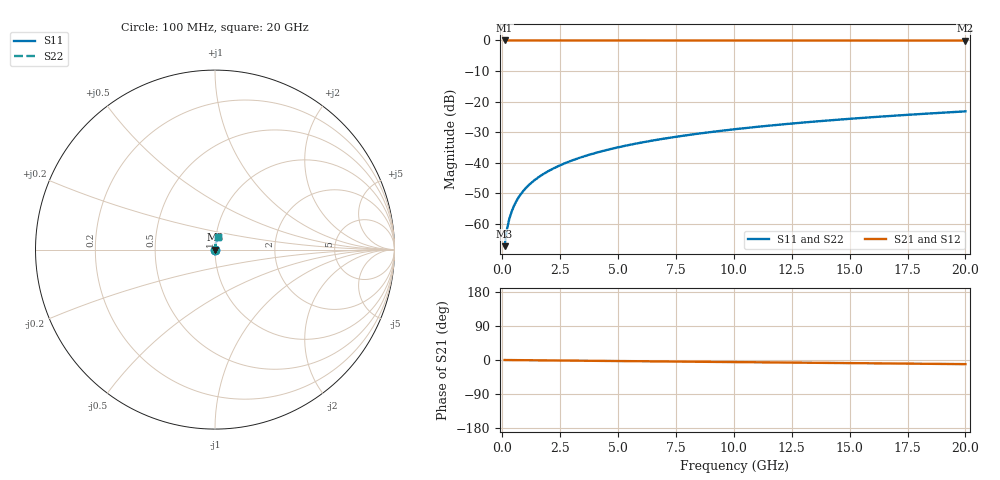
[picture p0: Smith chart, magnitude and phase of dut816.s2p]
! Touchstone file exported from HFSS 2026.1.0
!  File:  C:/ffzhzh/LocalFiles/Ansys_Project_Files/temp_train_TSV_816_1783184417_18472.aedt
!  Generated:  01:01:58 AM Jul  5, 2026
!  Design:  TSV
!  Project:  temp_train_TSV_816_1783184417_18472
! Variables:
!  h_bsmrdl = 2um
!  h_ox = 20um
!  h_rdl = 5um
!  h_sub = 99.01um
!  h_tmrdl = 5um
!  h_tsv = 99.01um
!  h_via = 3um
!  l_bsmrdl = 300um
!  l_sub = 417.84um
!  l_tmrdl = 200um
!  m_sub = 200um
!  pitch = 59.89um
!  r_tsv = 8.92um
!  s_tmrdl = 10um
!  w_bsmrdl = 18um
!  w_sub = 500um
!  w_tmrdl = 12um
!  x_tsv_center1 = 206um
!  x_tsv_center2 = 524um
!  x_tsv_center3 = 736um
!  x_tsv_center4 = 1054um
!  x_tsv_center5 = 1266um
!  x_tsv_center6 = 1584um
# GHz S MA R 50.000000
! Terminal data exported
! Port[1] = TSV1_1_T1
! Port[2] = TSV1_1_T2
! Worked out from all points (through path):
!   200 points, 100 MHz to 20 GHz, reference 50 ohm
!   highest |S21| = 0.00 dB at 100 MHz (marker M1); lowest = 0.0 dB at 20 GHz (marker M2)
!   group delay of S21, straight-line fit = 1.51 ps
!   lowest |S11| = -67.3 dB at 100 MHz (marker M3), VSWR 1.00, Z = 50 + j0.0397 ohm
!   |S11| at or under -10 dB: start of sweep to end of sweep
!   |S22| runs from -67.3 to -23.2 dB; largest |S21 - S12| = 2e-15
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0.1  0.000434 66.1  0.9998 -0.1  0.9998 -0.1  0.000434 66.1
! Gamma 0 0 0 0
! Port Impedance 50 0 50 0
0.2  0.0008136 76.6  0.9998 -0.1  0.9998 -0.1  0.0008136 76.6
0.3  0.0012 80.1  0.9998 -0.2  0.9998 -0.2  0.0012 80.1
0.4  0.001584 81.6  0.9998 -0.2  0.9998 -0.2  0.001584 81.6
0.5  0.001964 82.4  0.9997 -0.3  0.9997 -0.3  0.001964 82.4
0.6  0.002339 82.9  0.9997 -0.3  0.9997 -0.3  0.002339 82.9
0.7  0.00271 83.2  0.9997 -0.4  0.9997 -0.4  0.00271 83.2
0.8  0.003077 83.5  0.9997 -0.5  0.9997 -0.5  0.003077 83.5
1  0.003801 83.8  0.9996 -0.6  0.9996 -0.6  0.003801 83.8
1.4  0.00523 84.4  0.9995 -0.8  0.9995 -0.8  0.00523 84.4
1.7  0.006294 84.6  0.9995 -0.9  0.9995 -0.9  0.006294 84.6
2  0.007356 84.8  0.9994 -1.1  0.9994 -1.1  0.007356 84.8
2.7  0.00983 85.0  0.9994 -1.5  0.9994 -1.5  0.00983 85.0
3.5  0.01265 85.0  0.9992 -1.9  0.9992 -1.9  0.01265 85.0
4.2  0.01511 84.9  0.9992 -2.3  0.9992 -2.3  0.01511 84.9
5  0.01792 84.7  0.999 -2.8  0.999 -2.8  0.01792 84.7
6.8  0.02419 84.0  0.9988 -3.7  0.9988 -3.7  0.02419 84.0
8.3  0.02939 83.4  0.9985 -4.6  0.9985 -4.6  0.02939 83.4
10.1  0.03561 82.6  0.9982 -5.5  0.9982 -5.5  0.03561 82.6
13.4  0.04693 81.1  0.9976 -7.3  0.9976 -7.3  0.04693 81.1
16.7  0.05816 79.4  0.9969 -9.1  0.9969 -9.1  0.05816 79.5
20  0.06926 77.8  0.996 -10.9  0.996 -10.9  0.06926 77.8
